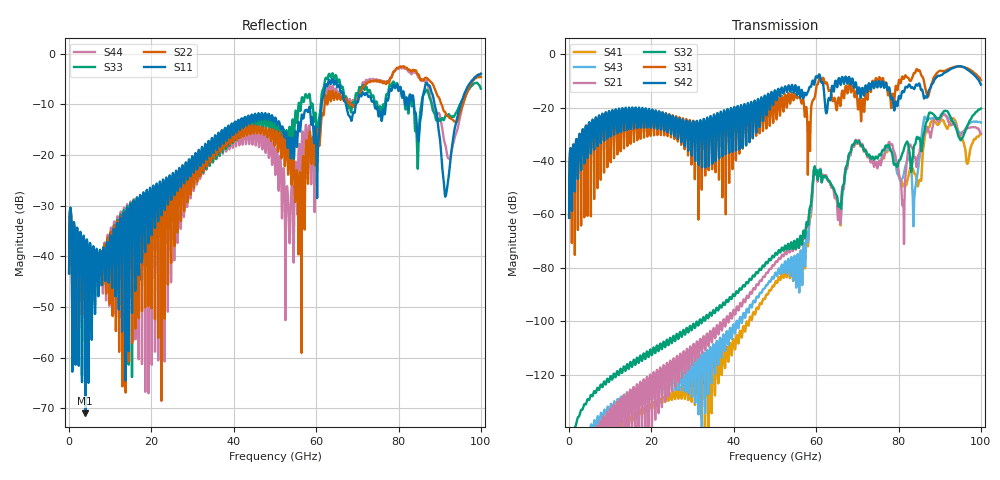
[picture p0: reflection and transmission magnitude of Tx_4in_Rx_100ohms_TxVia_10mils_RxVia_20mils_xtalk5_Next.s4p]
! Info: Touchstone file created by Circ.  Input file=Tx_4in_Rx_100ohms_TxVia_10mils_RxVia_20mils.circ
# Hz S RI R 50
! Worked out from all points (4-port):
!   10000 points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, 10 MHz to 100 GHz, reference 50 ohm
!   strongest paths, dB at 10 MHz, 25.01 GHz, 50.01 GHz, 75.01 GHz, 100 GHz:
!     S42: -61.2, -24.3, -13.5, -11.6, -11.4
!     S31: -61.2, -23.8, -16.9, -10.7, -9.7
!     S32: -177.7, -107.9, -74.8, -38.7, -20.3
!     S21: -, -124.9, -78.2, -41.8, -29.7
!     S43: -154.4, -125.7, -82.1, -40.7, -25.6
!     S41: -154.6, -129.1, -85.7, -41.3, -29.9
!   lowest |S11| = -71.0 dB at 3.93 GHz (marker M1), VSWR 1.00, Z = 50 + j0.0104 ohm
!   |S11| at or under -10 dB: start of sweep to 61.31 GHz; 74.16 GHz to 76.92 GHz (2.754 GHz wide, 3.65 % of centre); 88.76 GHz to 95.07 GHz (6.309 GHz wide, 6.86 % of centre)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
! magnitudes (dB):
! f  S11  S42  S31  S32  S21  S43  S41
! 10 MHz  -43.4  -61.2  -61.2  -177.7  -  -154.4  -154.6
! 3.93 GHz  -71.0  -29.0  -29.2  -131.1  -160.0  -145.8  -157.4
! 55.52 GHz  -15.7  -13.8  -16.3  -69.5  -71.0  -74.8  -78.0
! 59.77 GHz  -14.5  -9.4  -15.3  -43.5  -43.2  -43.3  -43.4
! 83.81 GHz  -10.8  -13.0  -7.0  -34.1  -38.8  -54.3  -44.6
! 86.44 GHz  -6.4  -15.9  -12.3  -27.2  -29.0  -23.4  -30.0
! 100 GHz  -3.9  -11.4  -9.7  -20.3  -29.7  -25.6  -29.9
